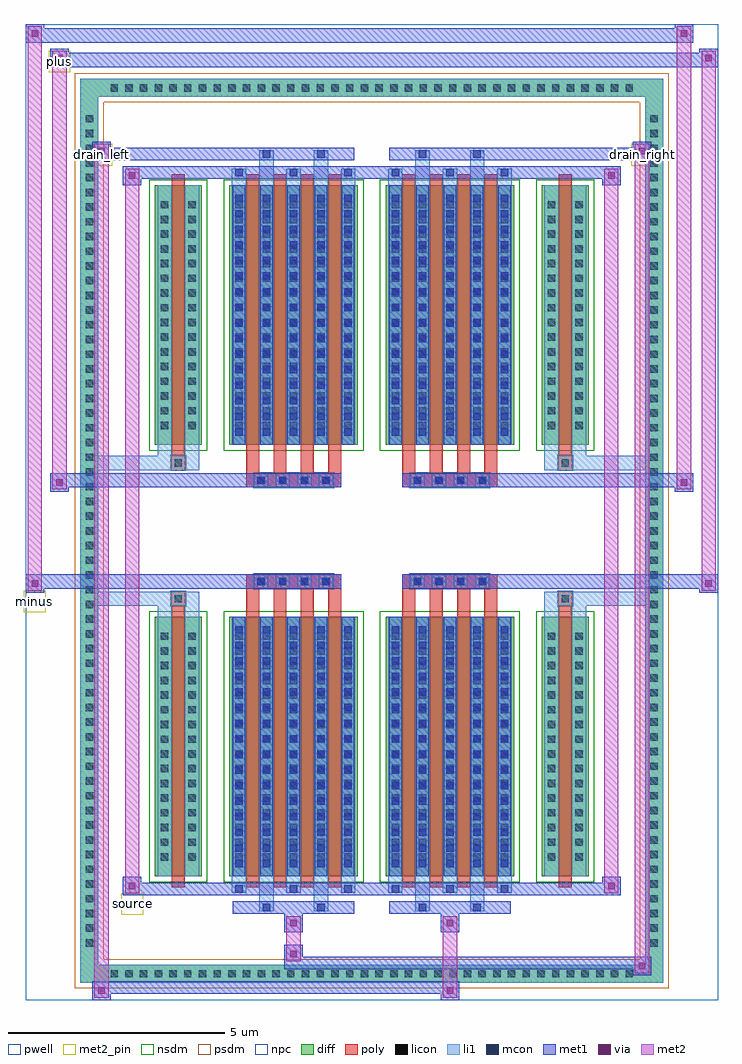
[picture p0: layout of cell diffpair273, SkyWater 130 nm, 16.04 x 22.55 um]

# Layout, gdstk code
import gdstk
lib = gdstk.Library(unit=1e-6, precision=5e-09)
def R(c, l, rs):  # rectangles x0, y0, x1, y1
    for r in rs: c.add(gdstk.rectangle(r[:2], r[2:], *l))
def A(c, l, x, y, w, h, nx, ny, dx, dy):  # array of equal rectangles
    R(c, l, [(x+i*dx, y+j*dy, x+i*dx+w, y+j*dy+h) for i in range(nx) for j in range(ny)])
def P(c, l, *ps):  # polygons
    for p in ps: c.add(gdstk.Polygon(p, *l))
pwell = (64, 44)
diff = (65, 20)
poly = (66, 20)
licon = (66, 44)
li1 = (67, 20)
mcon = (67, 44)
met1 = (68, 20)
via = (68, 44)
met2_pin = (69, 16)
met2 = (69, 20)
nsdm = (93, 44)
psdm = (94, 20)
npc = (95, 20)

diffpair273 = lib.new_cell('diffpair273')
R(diffpair273, pwell, [(-8,-10.84,8,11.71), (-5.32,-9.03,-0.01,-0.805), (0.01,-9.03,5.32,-0.805), (-5.32,0.805,-0.01,9.03), (0.01,0.805,5.32,9.03)])
A(diffpair273, diff, -6.155, -10.44, 0.41, 0.41, 36, 2, 0.34, 20.47)
A(diffpair273, diff, -6.73, -9.725, 0.41, 0.41, 1, 57, 0, 0.34)
A(diffpair273, diff, 6.32, -9.725, 0.41, 0.41, 1, 57, 0, 0.34)
R(diffpair273, diff, [(-6.155,-10.44,6.155,-10.03), (-6.73,-9.725,-6.32,9.725), (6.32,-9.725,6.73,9.725), (-5.01,-7.985,-3.93,-1.985), (-3.29,-7.985,-0.32,-1.985), (0.32,-7.985,3.29,-1.985), (3.93,-7.985,5.01,-1.985), (-5.01,1.985,-3.93,7.985), (-3.29,1.985,-0.32,7.985), (0.32,1.985,3.29,7.985), (3.93,1.985,5.01,7.985), (-6.155,10.03,6.155,10.44)])
P(diffpair273, diff, [(6.73,10.44),(-6.73,10.44),(-6.73,-10.03),(-6.32,-10.03),(-6.32,10.03),(6.32,10.03),(6.32,-10.03),(-6.32,-10.03),(-6.73,-10.03),(-6.73,-10.44),(6.73,-10.44)])
A(diffpair273, poly, -2.9, -8.235, 0.3, 6.5, 4, 2, 0.63, 9.97)
A(diffpair273, poly, 0.71, -8.235, 0.3, 6.5, 4, 2, 0.63, 9.97)
A(diffpair273, poly, -2.9, -1.735, 0.3, 0.4, 4, 2, 0.63, 3.07)
A(diffpair273, poly, 0.71, -1.735, 0.3, 0.4, 4, 2, 0.63, 3.07)
A(diffpair273, poly, -2.72, -1.335, 0.33, 0.33, 4, 2, 0.5, 2.34)
A(diffpair273, poly, 0.89, -1.335, 0.33, 0.33, 4, 2, 0.5, 2.34)
R(diffpair273, poly, [(-4.62,-8.235,-4.32,-1.735), (4.32,-8.235,4.62,-1.735), (-4.635,-1.735,-4.305,-1.405), (-4.635,-1.735,-4.305,-1.405), (4.305,-1.735,4.635,-1.405), (4.305,-1.735,4.635,-1.405), (-2.9,-1.335,-0.71,-1.005), (0.71,-1.335,2.9,-1.005), (-2.9,1.005,-0.71,1.335), (0.71,1.005,2.9,1.335), (-4.635,1.405,-4.305,1.735), (-4.635,1.405,-4.305,1.735), (4.305,1.405,4.635,1.735), (4.305,1.405,4.635,1.735), (-4.62,1.735,-4.32,8.235), (4.32,1.735,4.62,8.235)])
A(diffpair273, licon, -6.035, -10.32, 0.17, 0.17, 36, 2, 0.34, 20.47)
A(diffpair273, licon, -6.61, -9.605, 0.17, 0.17, 1, 57, 0, 0.34)
A(diffpair273, licon, 6.44, -9.605, 0.17, 0.17, 1, 57, 0, 0.34)
A(diffpair273, licon, -4.87, -7.62, 0.17, 0.17, 1, 16, 0, 0.34)
A(diffpair273, licon, -4.24, -7.62, 0.17, 0.17, 1, 16, 0, 0.34)
A(diffpair273, licon, -3.15, -7.62, 0.17, 0.17, 5, 16, 0.63, 0.34)
A(diffpair273, licon, 0.46, -7.62, 0.17, 0.17, 5, 16, 0.63, 0.34)
A(diffpair273, licon, 4.07, -7.62, 0.17, 0.17, 1, 16, 0, 0.34)
A(diffpair273, licon, 4.7, -7.62, 0.17, 0.17, 1, 16, 0, 0.34)
A(diffpair273, licon, -2.64, -1.255, 0.17, 0.17, 4, 2, 0.5, 2.34)
A(diffpair273, licon, 0.97, -1.255, 0.17, 0.17, 4, 2, 0.5, 2.34)
A(diffpair273, licon, -4.87, 2.35, 0.17, 0.17, 1, 16, 0, 0.34)
A(diffpair273, licon, -4.24, 2.35, 0.17, 0.17, 1, 16, 0, 0.34)
A(diffpair273, licon, -3.15, 2.35, 0.17, 0.17, 5, 16, 0.63, 0.34)
A(diffpair273, licon, 0.46, 2.35, 0.17, 0.17, 5, 16, 0.63, 0.34)
A(diffpair273, licon, 4.07, 2.35, 0.17, 0.17, 1, 16, 0, 0.34)
A(diffpair273, licon, 4.7, 2.35, 0.17, 0.17, 1, 16, 0, 0.34)
R(diffpair273, licon, [(-4.555,-1.655,-4.385,-1.485), (4.385,-1.655,4.555,-1.485), (-4.555,1.485,-4.385,1.655), (4.385,1.485,4.555,1.655)])
A(diffpair273, li1, -6.115, -10.4, 0.33, 0.33, 36, 2, 0.34, 20.47)
A(diffpair273, li1, -6.69, -9.685, 0.33, 0.33, 1, 57, 0, 0.34)
A(diffpair273, li1, 6.36, -9.685, 0.33, 0.33, 1, 57, 0, 0.34)
A(diffpair273, li1, -3.23, -8.36, 0.33, 0.375, 3, 2, 1.26, 16.345)
A(diffpair273, li1, -3.15, -8.36, 0.17, 0.17, 3, 2, 1.26, 16.55)
A(diffpair273, li1, 0.38, -8.36, 0.33, 0.375, 3, 2, 1.26, 16.345)
A(diffpair273, li1, 0.46, -8.36, 0.17, 0.17, 3, 2, 1.26, 16.55)
A(diffpair273, li1, -3.23, -7.985, 0.33, 6, 5, 2, 0.63, 9.97)
A(diffpair273, li1, 0.38, -7.985, 0.33, 6, 5, 2, 0.63, 9.97)
A(diffpair273, li1, -3.15, -7.77, 0.17, 0.17, 5, 16, 0.63, 0.36)
A(diffpair273, li1, -3.15, -7.77, 0.17, 5.57, 5, 2, 0.63, 9.97)
A(diffpair273, li1, 0.46, -7.77, 0.17, 0.17, 5, 16, 0.63, 0.36)
A(diffpair273, li1, 0.46, -7.77, 0.17, 5.57, 5, 2, 0.63, 9.97)
A(diffpair273, li1, -4.95, -7.7, 0.33, 0.33, 1, 16, 0, 0.34)
A(diffpair273, li1, -4.32, -7.7, 0.33, 0.33, 1, 16, 0, 0.34)
A(diffpair273, li1, -3.23, -7.7, 0.33, 0.33, 5, 16, 0.63, 0.34)
A(diffpair273, li1, 0.38, -7.7, 0.33, 0.33, 5, 16, 0.63, 0.34)
A(diffpair273, li1, 3.99, -7.7, 0.33, 0.33, 1, 16, 0, 0.34)
A(diffpair273, li1, 4.62, -7.7, 0.33, 0.33, 1, 16, 0, 0.34)
A(diffpair273, li1, -2.72, -1.335, 0.33, 0.33, 4, 2, 0.5, 2.34)
A(diffpair273, li1, 0.89, -1.335, 0.33, 0.33, 4, 2, 0.5, 2.34)
A(diffpair273, li1, -3.15, 2.2, 0.17, 0.17, 5, 16, 0.63, 0.36)
A(diffpair273, li1, 0.46, 2.2, 0.17, 0.17, 5, 16, 0.63, 0.36)
A(diffpair273, li1, -4.95, 2.27, 0.33, 0.33, 1, 16, 0, 0.34)
A(diffpair273, li1, -4.32, 2.27, 0.33, 0.33, 1, 16, 0, 0.34)
A(diffpair273, li1, -3.23, 2.27, 0.33, 0.33, 5, 16, 0.63, 0.34)
A(diffpair273, li1, 0.38, 2.27, 0.33, 0.33, 5, 16, 0.63, 0.34)
A(diffpair273, li1, 3.99, 2.27, 0.33, 0.33, 1, 16, 0, 0.34)
A(diffpair273, li1, 4.62, 2.27, 0.33, 0.33, 1, 16, 0, 0.34)
R(diffpair273, li1, [(-6.73,-10.44,-6.32,-10.03), (-6.73,-10.44,-6.32,-10.03), (-6.32,-10.44,6.32,-10.03), (6.32,-10.44,6.73,-10.03), (6.32,-10.44,6.73,-10.03), (-6.73,-10.03,-6.32,10.03), (6.32,-10.03,6.73,10.03), (-2.6,-8.79,-2.27,-7.985), (-2.52,-8.79,-2.35,-8.62), (-1.34,-8.79,-1.01,-7.985), (-1.26,-8.79,-1.09,-8.62), (1.01,-8.79,1.34,-7.985), (1.09,-8.79,1.26,-8.62), (2.27,-8.79,2.6,-7.985), (2.35,-8.79,2.52,-8.62), (-4.95,-7.985,-4.62,-1.985), (-4.32,-7.985,-3.99,-1.985), (3.99,-7.985,4.32,-1.985), (4.62,-7.985,4.95,-1.985), (-4.95,-1.985,-4.62,-1.405), (-4.32,-1.985,-3.99,-1.405), (3.99,-1.985,4.32,-1.405), (4.62,-1.985,4.95,-1.405), (-6.73,-1.735,-4.635,-1.405), (-4.95,-1.735,-4.635,-1.405), (-4.635,-1.735,-4.305,-1.405), (-4.305,-1.735,-3.99,-1.405), (3.99,-1.735,4.305,-1.405), (4.305,-1.735,4.635,-1.405), (4.305,-1.735,6.73,-1.405), (4.635,-1.735,4.95,-1.405), (-6.73,1.405,-4.635,1.735), (-4.95,1.405,-4.635,1.735), (-4.95,1.405,-4.62,1.985), (-4.635,1.405,-4.305,1.735), (-4.32,1.405,-3.99,1.985), (-4.305,1.405,-3.99,1.735), (3.99,1.405,4.305,1.735), (3.99,1.405,4.32,1.985), (4.305,1.405,4.635,1.735), (4.305,1.405,6.73,1.735), (4.62,1.405,4.95,1.985), (4.635,1.405,4.95,1.735), (-4.95,1.985,-4.62,7.985), (-4.32,1.985,-3.99,7.985), (3.99,1.985,4.32,7.985), (4.62,1.985,4.95,7.985), (-2.6,7.985,-2.27,8.79), (-1.34,7.985,-1.01,8.79), (1.01,7.985,1.34,8.79), (2.27,7.985,2.6,8.79), (-2.52,8.62,-2.35,8.79), (-1.26,8.62,-1.09,8.79), (1.09,8.62,1.26,8.79), (2.35,8.62,2.52,8.79), (-6.73,10.03,-6.32,10.44), (-6.73,10.03,-6.32,10.44), (-6.32,10.03,6.32,10.44), (6.32,10.03,6.73,10.44), (6.32,10.03,6.73,10.44)])
A(diffpair273, mcon, -3.15, -8.36, 0.17, 0.17, 3, 2, 1.26, 16.55)
A(diffpair273, mcon, 0.46, -8.36, 0.17, 0.17, 3, 2, 1.26, 16.55)
A(diffpair273, mcon, -3.15, -7.77, 0.17, 0.17, 5, 16, 0.63, 0.36)
A(diffpair273, mcon, 0.46, -7.77, 0.17, 0.17, 5, 16, 0.63, 0.36)
A(diffpair273, mcon, -2.64, -1.255, 0.17, 0.17, 4, 2, 0.5, 2.34)
A(diffpair273, mcon, 0.97, -1.255, 0.17, 0.17, 4, 2, 0.5, 2.34)
A(diffpair273, mcon, -3.15, 2.2, 0.17, 0.17, 5, 16, 0.63, 0.36)
A(diffpair273, mcon, 0.46, 2.2, 0.17, 0.17, 5, 16, 0.63, 0.36)
R(diffpair273, mcon, [(-2.52,-8.79,-2.35,-8.62), (-1.26,-8.79,-1.09,-8.62), (1.09,-8.79,1.26,-8.62), (2.35,-8.79,2.52,-8.62), (-2.52,8.62,-2.35,8.79), (-1.26,8.62,-1.09,8.79), (1.09,8.62,1.26,8.79), (2.35,8.62,2.52,8.79)])
A(diffpair273, met1, -3.21, -8.42, 0.29, 0.29, 3, 2, 1.26, 16.55)
A(diffpair273, met1, 0.4, -8.42, 0.29, 0.29, 3, 2, 1.26, 16.55)
A(diffpair273, met1, -3.21, -7.985, 0.29, 6, 5, 2, 0.63, 9.97)
A(diffpair273, met1, 0.4, -7.985, 0.29, 6, 5, 2, 0.63, 9.97)
A(diffpair273, met1, -3.21, -7.83, 0.29, 0.29, 5, 16, 0.63, 0.36)
A(diffpair273, met1, 0.4, -7.83, 0.29, 0.29, 5, 16, 0.63, 0.36)
A(diffpair273, met1, -2.7, -1.315, 0.29, 0.29, 4, 2, 0.5, 2.34)
A(diffpair273, met1, 0.91, -1.315, 0.29, 0.29, 4, 2, 0.5, 2.34)
A(diffpair273, met1, -3.21, 2.14, 0.29, 0.29, 5, 16, 0.63, 0.36)
A(diffpair273, met1, 0.4, 2.14, 0.29, 0.29, 5, 16, 0.63, 0.36)
R(diffpair273, met1, [(-6.46,-10.84,-6.03,-10.41), (1.59,-10.84,2.02,-10.41), (-6.46,-10.7,2.02,-10.41), (6.03,-10.27,6.46,-9.84), (-2.02,-10.13,6.46,-9.84), (-2.02,-9.99,-1.59,-9.56), (-2.02,-9.28,-1.59,-8.85), (1.59,-9.28,2.02,-8.85), (-3.21,-8.85,-0.4,-8.56), (-2.58,-8.85,-2.29,-8.56), (-1.32,-8.85,-1.03,-8.56), (0.4,-8.85,3.21,-8.56), (1.03,-8.85,1.32,-8.56), (2.29,-8.85,2.58,-8.56), (-5.75,-8.42,-5.32,-7.99), (-5.75,-8.42,-3.21,-8.13), (-3.21,-8.42,-0.4,-8.13), (-0.4,-8.42,0.4,-8.13), (0.4,-8.42,3.21,-8.13), (3.21,-8.42,5.75,-8.13), (5.32,-8.42,5.75,-7.99), (-8,-1.435,-7.57,-1.005), (7.57,-1.435,8,-1.005), (-8,-1.335,-0.71,-1.005), (-2.9,-1.335,-0.71,-1.005), (0.71,-1.335,2.9,-1.005), (0.71,-1.335,8,-1.005), (-7.43,0.905,-7,1.335), (7,0.905,7.43,1.335), (-7.43,1.005,-2.9,1.335), (-2.9,1.005,-0.71,1.335), (0.71,1.005,2.9,1.335), (2.9,1.005,7.43,1.335), (-5.75,7.99,-5.32,8.42), (5.32,7.99,5.75,8.42), (-5.75,8.13,-3.21,8.42), (-3.21,8.13,-0.4,8.42), (-0.4,8.13,0.4,8.42), (0.4,8.13,3.21,8.42), (3.21,8.13,5.75,8.42), (-6.46,8.56,-6.03,8.99), (-6.46,8.56,-3.21,8.85), (-3.21,8.56,-0.4,8.85), (-2.58,8.56,-2.29,8.85), (-1.32,8.56,-1.03,8.85), (0.4,8.56,3.21,8.85), (1.03,8.56,1.32,8.85), (2.29,8.56,2.58,8.85), (3.21,8.56,6.46,8.85), (6.03,8.56,6.46,8.99), (-7.43,10.71,-7,11.14), (-7.43,10.71,-5.32,11.04), (-5.32,10.71,5.32,11.04), (5.32,10.71,8,11.04), (7.57,10.71,8,11.14), (-8,11.28,-7.57,11.71), (-8,11.28,-5.32,11.61), (-5.32,11.28,5.32,11.61), (5.32,11.28,7.43,11.61), (7,11.28,7.43,11.71)])
R(diffpair273, via, [(-6.32,-10.7,-6.17,-10.55), (1.73,-10.7,1.88,-10.55), (6.17,-10.13,6.32,-9.98), (-1.88,-9.85,-1.73,-9.7), (-1.88,-9.14,-1.73,-8.99), (1.73,-9.14,1.88,-8.99), (-5.61,-8.28,-5.46,-8.13), (5.46,-8.28,5.61,-8.13), (-7.86,-1.295,-7.71,-1.145), (7.71,-1.295,7.86,-1.145), (-7.29,1.045,-7.14,1.195), (7.14,1.045,7.29,1.195), (-5.61,8.13,-5.46,8.28), (5.46,8.13,5.61,8.28), (-6.32,8.7,-6.17,8.85), (6.17,8.7,6.32,8.85), (-7.29,10.85,-7.14,11), (7.71,10.85,7.86,11), (-7.86,11.42,-7.71,11.57), (7.14,11.42,7.29,11.57)])
R(diffpair273, met2_pin, [(-5.785,-8.87,-5.285,-8.37), (-8.035,-1.885,-7.535,-1.385), (-6.495,8.44,-5.995,8.94), (5.995,8.44,6.495,8.94), (-7.465,10.59,-6.965,11.09)])
R(diffpair273, met2, [(-6.41,-10.79,-6.08,-10.46), (-6.41,-10.79,-6.08,8.94), (1.64,-10.79,1.97,-10.46), (1.64,-10.46,1.97,-9.23), (6.08,-10.22,6.41,-9.89), (6.08,-10.22,6.41,8.94), (-1.97,-9.94,-1.64,-9.61), (-1.97,-9.61,-1.64,-9.23), (-1.97,-9.23,-1.64,-8.9), (1.64,-9.23,1.97,-8.9), (-5.7,-8.37,-5.37,-8.04), (-5.7,-8.37,-5.37,8.37), (5.37,-8.37,5.7,-8.04), (5.37,-8.37,5.7,8.37), (-7.95,-1.385,-7.62,-1.055), (-7.95,-1.385,-7.62,11.66), (7.62,-1.385,7.95,-1.055), (7.62,-1.385,7.95,11.09), (-7.38,0.955,-7.05,1.285), (-7.38,0.955,-7.05,11.09), (7.05,0.955,7.38,1.285), (7.05,0.955,7.38,11.66), (-5.7,8.04,-5.37,8.37), (5.37,8.04,5.7,8.37), (-6.41,8.61,-6.08,8.94), (6.08,8.61,6.41,8.94), (-7.38,10.76,-7.05,11.09), (7.62,10.76,7.95,11.09), (-7.95,11.33,-7.62,11.66), (7.05,11.33,7.38,11.66)])
P(diffpair273, met2, [(7.95,-1.385),(7.95,-1.385),(7.95,-1.055),(7.95,-1.055)],
  [(7.95,10.76),(7.95,10.76),(7.95,11.09),(7.95,11.09)],
  [(-7.62,-1.385),(-7.62,-1.385),(-7.62,-1.055),(-7.62,-1.055)],
  [(-7.62,11.33),(-7.62,11.33),(-7.62,11.66),(-7.62,11.66)],
  [(7.38,0.955),(7.38,0.955),(7.38,1.285),(7.38,1.285)],
  [(7.38,11.33),(7.38,11.33),(7.38,11.66),(7.38,11.66)],
  [(-7.05,0.955),(-7.05,0.955),(-7.05,1.285),(-7.05,1.285)],
  [(-7.05,10.76),(-7.05,10.76),(-7.05,11.09),(-7.05,11.09)],
  [(-6.08,-10.79),(-6.08,-10.79),(-6.08,-10.46),(-6.08,-10.46)],
  [(-6.08,8.61),(-6.08,8.61),(-6.08,8.94),(-6.08,8.94)],
  [(6.41,-10.22),(6.41,-10.22),(6.41,-9.89),(6.41,-9.89)],
  [(6.41,8.61),(6.41,8.61),(6.41,8.94),(6.41,8.94)],
  [(-5.37,-8.37),(-5.37,-8.37),(-5.37,-8.04),(-5.37,-8.04)],
  [(-5.37,8.04),(-5.37,8.04),(-5.37,8.37),(-5.37,8.37)],
  [(5.7,-8.37),(5.7,-8.37),(5.7,-8.04),(5.7,-8.04)],
  [(5.7,8.04),(5.7,8.04),(5.7,8.37),(5.7,8.37)])
R(diffpair273, nsdm, [(-5.14,-8.115,-3.8,-1.855), (-3.42,-8.115,-0.19,-1.855), (0.19,-8.115,3.42,-1.855), (3.8,-8.115,5.14,-1.855), (-5.14,1.855,-3.8,8.115), (-3.42,1.855,-0.19,8.115), (0.19,1.855,3.42,8.115), (3.8,1.855,5.14,8.115)])
P(diffpair273, psdm, [(6.86,10.57),(-6.86,10.57),(-6.86,-9.9),(-6.19,-9.9),(-6.19,9.9),(6.19,9.9),(6.19,-9.9),(-6.19,-9.9),(-6.86,-9.9),(-6.86,-10.57),(6.86,-10.57)])
A(diffpair273, npc, -2.74, -1.355, 0.37, 0.37, 4, 2, 0.5, 2.34)
A(diffpair273, npc, 0.87, -1.355, 0.37, 0.37, 4, 2, 0.5, 2.34)
R(diffpair273, npc, [(-4.655,-1.755,-4.285,-1.385), (4.285,-1.755,4.655,-1.385), (-2.74,-1.355,-1.87,-0.985), (-2.74,-1.355,-1.87,-0.985), (-2.24,-1.355,-1.37,-0.985), (-2.24,-1.355,-1.37,-0.985), (-1.74,-1.355,-0.87,-0.985), (-1.74,-1.355,-0.87,-0.985), (0.87,-1.355,1.74,-0.985), (0.87,-1.355,1.74,-0.985), (1.37,-1.355,2.24,-0.985), (1.37,-1.355,2.24,-0.985), (1.87,-1.355,2.74,-0.985), (1.87,-1.355,2.74,-0.985), (-2.74,0.985,-1.87,1.355), (-2.74,0.985,-1.87,1.355), (-2.24,0.985,-1.37,1.355), (-2.24,0.985,-1.37,1.355), (-1.74,0.985,-0.87,1.355), (-1.74,0.985,-0.87,1.355), (0.87,0.985,1.74,1.355), (0.87,0.985,1.74,1.355), (1.37,0.985,2.24,1.355), (1.37,0.985,2.24,1.355), (1.87,0.985,2.74,1.355), (1.87,0.985,2.74,1.355), (-4.655,1.385,-4.285,1.755), (4.285,1.385,4.655,1.755)])
diffpair273.add(gdstk.Label('minus', (-7.785,-1.635), layer=69, texttype=5))
diffpair273.add(gdstk.Label('drain_right', (6.245,8.69), layer=69, texttype=5))
diffpair273.add(gdstk.Label('drain_left', (-6.245,8.69), layer=69, texttype=5))
diffpair273.add(gdstk.Label('source', (-5.535,-8.62), layer=69, texttype=5))
diffpair273.add(gdstk.Label('plus', (-7.215,10.84), layer=69, texttype=5))

lib.write_gds('diffpair273.gds')
